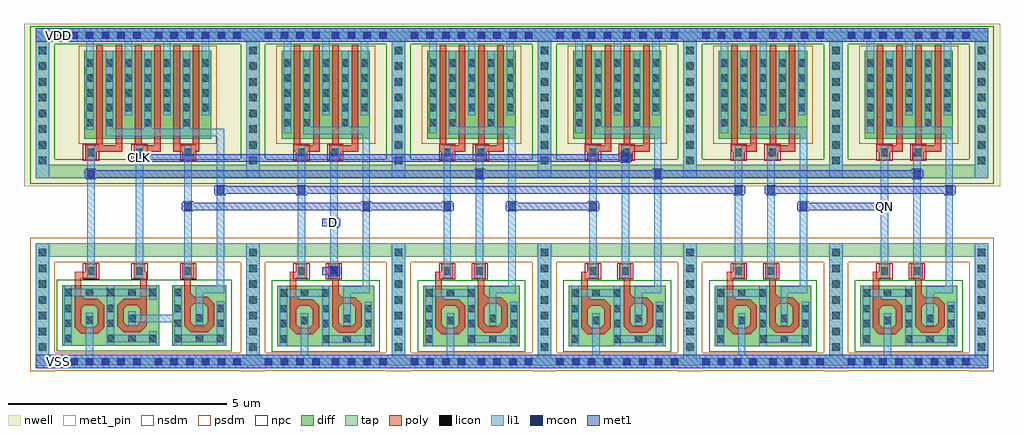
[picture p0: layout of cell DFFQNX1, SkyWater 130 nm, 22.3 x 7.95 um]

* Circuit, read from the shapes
.subckt DFFQNX1 CLK D QN VDD VSS
XM1 n1 n2 VSS VSS sky130_fd_pr__nfet_01v8 w=2.6 l=0.1462
XM2 n1 CLK n3 VSS sky130_fd_pr__nfet_01v8 w=2.52 l=0.1453
XM3 n3 n4 n5 VSS sky130_fd_pr__nfet_01v8 w=2.56 l=0.1459
XM4 n6 n5 VSS VSS sky130_fd_pr__nfet_01v8 w=2.6 l=0.1465
XM5 n6 D n4 VSS sky130_fd_pr__nfet_01v8 w=2.56 l=0.1461
XM6 n7 n4 VSS VSS sky130_fd_pr__nfet_01v8 w=2.6 l=0.1464
XM7 n7 n2 n8 VSS sky130_fd_pr__nfet_01v8 w=2.56 l=0.1463
XM8 n9 n8 VSS VSS sky130_fd_pr__nfet_01v8 w=2.6 l=0.1464
XM9 n9 CLK n2 VSS sky130_fd_pr__nfet_01v8 w=2.56 l=0.1461
XM10 n10 n5 VSS VSS sky130_fd_pr__nfet_01v8 w=2.6 l=0.1464
XM11 n10 n11 QN VSS sky130_fd_pr__nfet_01v8 w=2.56 l=0.1463
XM12 n12 QN VSS VSS sky130_fd_pr__nfet_01v8 w=2.6 l=0.1464
XM13 n12 n2 n11 VSS sky130_fd_pr__nfet_01v8 w=2.56 l=0.1461
XM14 n5 n2 VDD VDD sky130_fd_pr__pfet_01v8 w=2 l=0.15 m=2
XM15 n5 CLK VDD VDD sky130_fd_pr__pfet_01v8 w=2 l=0.15 m=2
XM16 n5 n4 VDD VDD sky130_fd_pr__pfet_01v8 w=2 l=0.15 m=2
XM17 n4 n5 VDD VDD sky130_fd_pr__pfet_01v8 w=2 l=0.15 m=2
XM18 n4 D VDD VDD sky130_fd_pr__pfet_01v8 w=2 l=0.15 m=2
XM19 n8 n4 VDD VDD sky130_fd_pr__pfet_01v8 w=2 l=0.15 m=2
XM20 n8 n2 VDD VDD sky130_fd_pr__pfet_01v8 w=2 l=0.15 m=2
XM21 n2 n8 VDD VDD sky130_fd_pr__pfet_01v8 w=2 l=0.15 m=2
XM22 n2 CLK VDD VDD sky130_fd_pr__pfet_01v8 w=2 l=0.15 m=2
XM23 QN n5 VDD VDD sky130_fd_pr__pfet_01v8 w=2 l=0.15 m=2
XM24 QN n11 VDD VDD sky130_fd_pr__pfet_01v8 w=2 l=0.15 m=2
XM25 n11 QN VDD VDD sky130_fd_pr__pfet_01v8 w=2 l=0.15 m=2
XM26 n11 n2 VDD VDD sky130_fd_pr__pfet_01v8 w=2 l=0.15 m=2
.ends

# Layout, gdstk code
import gdstk
lib = gdstk.Library(unit=1e-6, precision=1e-09)
def R(c, l, rs):  # rectangles x0, y0, x1, y1
    for r in rs: c.add(gdstk.rectangle(r[:2], r[2:], *l))
def A(c, l, x, y, w, h, nx, ny, dx, dy):  # array of equal rectangles
    R(c, l, [(x+i*dx, y+j*dy, x+i*dx+w, y+j*dy+h) for i in range(nx) for j in range(ny)])
def P(c, l, *ps):  # polygons
    for p in ps: c.add(gdstk.Polygon(p, *l))
nwell = (64, 20)
diff = (65, 20)
tap = (65, 44)
poly = (66, 20)
licon = (66, 44)
li1 = (67, 20)
mcon = (67, 44)
met1_pin = (68, 16)
met1 = (68, 20)
nsdm = (93, 44)
psdm = (94, 20)
npc = (95, 20)

dffqnx1 = lib.new_cell('DFFQNX1')
R(dffqnx1, nwell, [(-0.42,4.16,21.88,7.875)])
A(dffqnx1, diff, 5.37, 0.505, 2.21, 1.38, 5, 1, 3.33, 0)
A(dffqnx1, diff, 5.465, 5.25, 2.02, 2, 5, 1, 3.33, 0)
R(dffqnx1, diff, [(0.455,0.515,2.665,1.895), (2.965,0.515,4.205,1.895), (0.955,5.25,3.855,7.25)])
A(dffqnx1, tap, 4.655, 0.055, 0.31, 0.01, 6, 1, 3.33, 0)
A(dffqnx1, tap, 4.655, 0.235, 0.31, 2.315, 6, 1, 3.33, 0)
A(dffqnx1, tap, 4.655, 4.65, 0.31, 2.875, 6, 1, 3.33, 0)
R(dffqnx1, tap, [(-0.155,0.055,0.155,0.065), (-0.155,0.065,21.615,0.235), (-0.155,0.235,0.155,2.55), (-0.155,2.55,21.615,2.86), (-0.155,4.34,21.615,4.65), (-0.155,4.65,0.155,7.525), (-0.155,7.525,21.615,7.695)])
A(dffqnx1, poly, 9.13, 0.775, 0.38, 0.04, 4, 1, 3.33, 0)
A(dffqnx1, poly, 6.77, 0.815, 0.38, 0.15, 5, 1, 3.33, 0)
A(dffqnx1, poly, 9.09, 0.815, 0.42, 0.11, 4, 1, 3.33, 0)
A(dffqnx1, poly, 5.65, 1.43, 0.53, 0.15, 5, 1, 3.33, 0)
A(dffqnx1, poly, 6.62, 1.47, 0.53, 0.15, 5, 1, 3.33, 0)
A(dffqnx1, poly, 5.65, 1.58, 0.15, 0.475, 5, 1, 3.33, 0)
A(dffqnx1, poly, 6.62, 1.62, 0.15, 0.435, 5, 1, 3.33, 0)
A(dffqnx1, poly, 3.195, 2.055, 0.27, 0.33, 6, 1, 3.33, 0)
A(dffqnx1, poly, 5.65, 2.055, 0.405, 0.15, 5, 1, 3.33, 0)
A(dffqnx1, poly, 5.785, 2.205, 0.27, 0.18, 5, 1, 3.33, 0)
A(dffqnx1, poly, 0.975, 4.765, 0.27, 0.18, 3, 1, 1.11, 0)
A(dffqnx1, poly, 5.745, 4.945, 0.59, 0.15, 5, 1, 3.33, 0)
A(dffqnx1, poly, 6.555, 4.945, 0.66, 0.15, 5, 1, 3.33, 0)
A(dffqnx1, poly, 1.235, 5.095, 0.15, 2.285, 6, 1, 0.44, 0)
A(dffqnx1, poly, 5.745, 5.095, 0.15, 2.285, 4, 1, 0.44, 0)
A(dffqnx1, poly, 9.075, 5.095, 0.15, 2.285, 4, 1, 0.44, 0)
A(dffqnx1, poly, 12.405, 5.095, 0.15, 2.285, 4, 1, 0.44, 0)
A(dffqnx1, poly, 15.735, 5.095, 0.15, 2.285, 4, 1, 0.44, 0)
A(dffqnx1, poly, 19.065, 5.095, 0.15, 2.285, 4, 1, 0.44, 0)
R(dffqnx1, poly, [(5.8,0.775,6.18,0.785), (0.885,0.785,1.265,0.935), (5.79,0.785,6.18,0.82), (1.86,0.82,2.235,0.97), (5.755,0.82,6.18,0.825), (3.395,0.825,3.775,0.975), (5.75,0.825,6.18,0.925), (5.65,0.925,5.8,1.43), (6.18,0.925,6.33,1.43), (8.98,0.925,9.13,1.43), (9.51,0.925,9.66,1.43), (12.31,0.925,12.46,1.43), (12.84,0.925,12.99,1.43), (15.64,0.925,15.79,1.43), (16.17,0.925,16.32,1.43), (18.97,0.925,19.12,1.43), (19.5,0.925,19.65,1.43), (0.735,0.935,0.885,1.44), (1.265,0.935,1.415,1.44), (6.62,0.965,6.77,1.47), (7.15,0.965,7.3,1.47), (9.95,0.965,10.1,1.47), (10.48,0.965,10.63,1.47), (13.28,0.965,13.43,1.47), (13.81,0.965,13.96,1.47), (16.61,0.965,16.76,1.47), (17.14,0.965,17.29,1.47), (19.94,0.965,20.09,1.47), (20.47,0.965,20.62,1.47), (1.71,0.97,1.86,1.44), (2.235,0.97,2.385,1.44), (3.245,0.975,3.395,1.48), (3.775,0.975,3.925,1.48), (0.735,1.44,1.265,1.59), (1.86,1.44,2.385,1.59), (3.245,1.48,3.775,1.63), (0.735,1.59,0.885,2.055), (2.235,1.59,2.385,2.055), (3.245,1.63,3.395,2.055), (0.735,2.055,1.245,2.205), (2.085,2.055,2.385,2.205), (0.975,2.205,1.245,2.385), (2.085,2.205,2.355,2.385), (5.785,4.765,6.055,4.945), (6.555,4.765,6.825,4.945), (9.115,4.765,9.385,4.945), (9.885,4.765,10.155,4.945), (12.445,4.765,12.715,4.945), (13.215,4.765,13.485,4.945), (15.775,4.765,16.045,4.945), (16.545,4.765,16.815,4.945), (19.105,4.765,19.375,4.945), (19.875,4.765,20.145,4.945), (0.975,4.945,1.825,5.095), (2.085,4.945,2.705,5.095), (2.995,4.945,3.585,5.095)])
P(dffqnx1, poly, [(0.885,1.67),(0.885,1.59),(0.965,1.59)],
  [(1.265,1.59),(1.265,1.44),(1.415,1.44)],
  [(0.885,1.36),(0.885,1.44),(0.965,1.44)],
  [(1.185,1.44),(1.265,1.44),(1.265,1.36)],
  [(0.885,1.015),(0.885,0.935),(0.965,0.935)],
  [(1.185,0.935),(1.265,0.935),(1.265,1.015)],
  [(0.735,0.935),(0.885,0.935),(0.885,0.785)],
  [(1.265,0.785),(1.265,0.935),(1.415,0.935)],
  [(1.71,1.44),(1.86,1.44),(1.86,1.59)],
  [(1.86,1.36),(1.86,1.44),(1.94,1.44)],
  [(2.155,1.44),(2.235,1.44),(2.235,1.36)],
  [(1.86,1.05),(1.86,0.97),(1.94,0.97)],
  [(2.155,0.97),(2.235,0.97),(2.235,1.05)],
  [(1.71,0.97),(1.86,0.97),(1.86,0.82)],
  [(2.235,0.82),(2.235,0.97),(2.385,0.97)],
  [(3.395,1.71),(3.395,1.63),(3.475,1.63)],
  [(3.775,1.63),(3.775,1.48),(3.925,1.48)],
  [(3.395,1.4),(3.395,1.48),(3.475,1.48)],
  [(3.695,1.48),(3.775,1.48),(3.775,1.4)],
  [(3.395,1.055),(3.395,0.975),(3.475,0.975)],
  [(3.695,0.975),(3.775,0.975),(3.775,1.055)],
  [(3.245,0.975),(3.395,0.975),(3.395,0.825)],
  [(3.775,0.825),(3.775,0.975),(3.925,0.975)],
  [(5.8,1.66),(5.8,1.58),(5.88,1.58)],
  [(6.77,1.7),(6.77,1.62),(6.85,1.62)],
  [(6.18,1.58),(6.18,1.43),(6.33,1.43)],
  [(5.8,1.35),(5.8,1.43),(5.88,1.43)],
  [(6.1,1.43),(6.18,1.43),(6.18,1.35)],
  [(5.8,1.005),(5.8,0.925),(5.88,0.925)],
  [(6.1,0.925),(6.18,0.925),(6.18,1.005)],
  [(5.65,0.925),(5.75,0.925),(5.75,0.825)],
  [(5.75,0.825),(5.755,0.825),(5.755,0.82)],
  [(5.755,0.82),(5.79,0.82),(5.79,0.785)],
  [(5.79,0.785),(5.8,0.785),(5.8,0.775)],
  [(6.18,0.775),(6.18,0.925),(6.33,0.925)],
  [(7.15,1.62),(7.15,1.47),(7.3,1.47)],
  [(6.77,1.39),(6.77,1.47),(6.85,1.47)],
  [(7.07,1.47),(7.15,1.47),(7.15,1.39)],
  [(6.77,1.045),(6.77,0.965),(6.85,0.965)],
  [(7.07,0.965),(7.15,0.965),(7.15,1.045)],
  [(6.62,0.965),(6.77,0.965),(6.77,0.815)],
  [(7.15,0.815),(7.15,0.965),(7.3,0.965)],
  [(9.13,1.66),(9.13,1.58),(9.21,1.58)],
  [(10.1,1.7),(10.1,1.62),(10.18,1.62)],
  [(9.51,1.58),(9.51,1.43),(9.66,1.43)],
  [(9.13,1.35),(9.13,1.43),(9.21,1.43)],
  [(9.43,1.43),(9.51,1.43),(9.51,1.35)],
  [(9.13,1.005),(9.13,0.925),(9.21,0.925)],
  [(9.43,0.925),(9.51,0.925),(9.51,1.005)],
  [(8.98,0.925),(9.09,0.925),(9.09,0.815)],
  [(9.09,0.815),(9.13,0.815),(9.13,0.775)],
  [(9.51,0.775),(9.51,0.925),(9.66,0.925)],
  [(10.48,1.62),(10.48,1.47),(10.63,1.47)],
  [(10.1,1.39),(10.1,1.47),(10.18,1.47)],
  [(10.4,1.47),(10.48,1.47),(10.48,1.39)],
  [(10.1,1.045),(10.1,0.965),(10.18,0.965)],
  [(10.4,0.965),(10.48,0.965),(10.48,1.045)],
  [(9.95,0.965),(10.1,0.965),(10.1,0.815)],
  [(10.48,0.815),(10.48,0.965),(10.63,0.965)],
  [(12.46,1.66),(12.46,1.58),(12.54,1.58)],
  [(13.43,1.7),(13.43,1.62),(13.51,1.62)],
  [(12.84,1.58),(12.84,1.43),(12.99,1.43)],
  [(12.46,1.35),(12.46,1.43),(12.54,1.43)],
  [(12.76,1.43),(12.84,1.43),(12.84,1.35)],
  [(12.46,1.005),(12.46,0.925),(12.54,0.925)],
  [(12.76,0.925),(12.84,0.925),(12.84,1.005)],
  [(12.31,0.925),(12.42,0.925),(12.42,0.815)],
  [(12.42,0.815),(12.46,0.815),(12.46,0.775)],
  [(12.84,0.775),(12.84,0.925),(12.99,0.925)],
  [(13.81,1.62),(13.81,1.47),(13.96,1.47)],
  [(13.43,1.39),(13.43,1.47),(13.51,1.47)],
  [(13.73,1.47),(13.81,1.47),(13.81,1.39)],
  [(13.43,1.045),(13.43,0.965),(13.51,0.965)],
  [(13.73,0.965),(13.81,0.965),(13.81,1.045)],
  [(13.28,0.965),(13.43,0.965),(13.43,0.815)],
  [(13.81,0.815),(13.81,0.965),(13.96,0.965)],
  [(15.79,1.66),(15.79,1.58),(15.87,1.58)],
  [(16.76,1.7),(16.76,1.62),(16.84,1.62)],
  [(16.17,1.58),(16.17,1.43),(16.32,1.43)],
  [(15.79,1.35),(15.79,1.43),(15.87,1.43)],
  [(16.09,1.43),(16.17,1.43),(16.17,1.35)],
  [(15.79,1.005),(15.79,0.925),(15.87,0.925)],
  [(16.09,0.925),(16.17,0.925),(16.17,1.005)],
  [(15.64,0.925),(15.75,0.925),(15.75,0.815)],
  [(15.75,0.815),(15.79,0.815),(15.79,0.775)],
  [(16.17,0.775),(16.17,0.925),(16.32,0.925)],
  [(17.14,1.62),(17.14,1.47),(17.29,1.47)],
  [(16.76,1.39),(16.76,1.47),(16.84,1.47)],
  [(17.06,1.47),(17.14,1.47),(17.14,1.39)],
  [(16.76,1.045),(16.76,0.965),(16.84,0.965)],
  [(17.06,0.965),(17.14,0.965),(17.14,1.045)],
  [(16.61,0.965),(16.76,0.965),(16.76,0.815)],
  [(17.14,0.815),(17.14,0.965),(17.29,0.965)],
  [(19.12,1.66),(19.12,1.58),(19.2,1.58)],
  [(20.09,1.7),(20.09,1.62),(20.17,1.62)],
  [(19.5,1.58),(19.5,1.43),(19.65,1.43)],
  [(19.12,1.35),(19.12,1.43),(19.2,1.43)],
  [(19.42,1.43),(19.5,1.43),(19.5,1.35)],
  [(19.12,1.005),(19.12,0.925),(19.2,0.925)],
  [(19.42,0.925),(19.5,0.925),(19.5,1.005)],
  [(18.97,0.925),(19.08,0.925),(19.08,0.815)],
  [(19.08,0.815),(19.12,0.815),(19.12,0.775)],
  [(19.5,0.775),(19.5,0.925),(19.65,0.925)],
  [(20.47,1.62),(20.47,1.47),(20.62,1.47)],
  [(20.09,1.39),(20.09,1.47),(20.17,1.47)],
  [(20.39,1.47),(20.47,1.47),(20.47,1.39)],
  [(20.09,1.045),(20.09,0.965),(20.17,0.965)],
  [(20.39,0.965),(20.47,0.965),(20.47,1.045)],
  [(19.94,0.965),(20.09,0.965),(20.09,0.815)],
  [(20.47,0.815),(20.47,0.965),(20.62,0.965)])
A(dffqnx1, licon, 0.275, 0.065, 0.17, 0.17, 6, 2, 0.36, 7.46)
A(dffqnx1, licon, 2.565, 0.065, 0.17, 0.17, 6, 2, 0.36, 7.46)
A(dffqnx1, licon, 5.085, 0.065, 0.17, 0.17, 4, 2, 0.36, 7.46)
A(dffqnx1, licon, 6.615, 0.065, 0.17, 0.17, 4, 2, 0.36, 7.46)
A(dffqnx1, licon, 8.415, 0.065, 0.17, 0.17, 4, 2, 0.36, 7.46)
A(dffqnx1, licon, 9.945, 0.065, 0.17, 0.17, 4, 2, 0.36, 7.46)
A(dffqnx1, licon, 11.745, 0.065, 0.17, 0.17, 4, 2, 0.36, 7.46)
A(dffqnx1, licon, 13.275, 0.065, 0.17, 0.17, 4, 2, 0.36, 7.46)
A(dffqnx1, licon, 15.075, 0.065, 0.17, 0.17, 4, 2, 0.36, 7.46)
A(dffqnx1, licon, 16.605, 0.065, 0.17, 0.17, 4, 2, 0.36, 7.46)
A(dffqnx1, licon, 18.405, 0.065, 0.17, 0.17, 4, 2, 0.36, 7.46)
A(dffqnx1, licon, 19.935, 0.065, 0.17, 0.17, 4, 2, 0.36, 7.46)
A(dffqnx1, licon, -0.085, 0.4, 0.17, 0.17, 1, 7, 0, 0.36)
A(dffqnx1, licon, 4.725, 0.4, 0.17, 0.17, 6, 7, 3.33, 0.36)
A(dffqnx1, licon, 6.39, 0.585, 0.17, 0.17, 3, 1, 0.485, 0)
A(dffqnx1, licon, 9.72, 0.585, 0.17, 0.17, 3, 1, 0.485, 0)
A(dffqnx1, licon, 13.05, 0.585, 0.17, 0.17, 3, 1, 0.485, 0)
A(dffqnx1, licon, 16.38, 0.585, 0.17, 0.17, 3, 1, 0.485, 0)
A(dffqnx1, licon, 19.71, 0.585, 0.17, 0.17, 3, 1, 0.485, 0)
A(dffqnx1, licon, 1.475, 0.595, 0.17, 0.17, 3, 1, 0.485, 0)
A(dffqnx1, licon, 3.015, 0.595, 0.17, 0.17, 3, 1, 0.485, 0)
A(dffqnx1, licon, 5.42, 0.935, 0.17, 0.17, 3, 2, 0.97, 0.34)
A(dffqnx1, licon, 8.75, 0.935, 0.17, 0.17, 3, 2, 0.97, 0.34)
A(dffqnx1, licon, 12.08, 0.935, 0.17, 0.17, 3, 2, 0.97, 0.34)
A(dffqnx1, licon, 15.41, 0.935, 0.17, 0.17, 3, 2, 0.97, 0.34)
A(dffqnx1, licon, 18.74, 0.935, 0.17, 0.17, 3, 2, 0.97, 0.34)
A(dffqnx1, licon, 5.905, 1.01, 0.17, 0.17, 5, 1, 3.33, 0)
A(dffqnx1, licon, 6.875, 1.055, 0.17, 0.17, 5, 1, 3.33, 0)
A(dffqnx1, licon, 5.42, 1.635, 0.17, 0.17, 3, 1, 0.485, 0)
A(dffqnx1, licon, 8.75, 1.635, 0.17, 0.17, 3, 1, 0.485, 0)
A(dffqnx1, licon, 12.08, 1.635, 0.17, 0.17, 3, 1, 0.485, 0)
A(dffqnx1, licon, 15.41, 1.635, 0.17, 0.17, 3, 1, 0.485, 0)
A(dffqnx1, licon, 18.74, 1.635, 0.17, 0.17, 3, 1, 0.485, 0)
A(dffqnx1, licon, 0.505, 1.645, 0.17, 0.17, 5, 1, 0.485, 0)
A(dffqnx1, licon, 1.025, 2.135, 0.17, 0.17, 3, 2, 1.11, 2.71)
A(dffqnx1, licon, -0.085, 4.66, 0.17, 0.17, 1, 8, 0, 0.36)
A(dffqnx1, licon, 4.725, 4.66, 0.17, 0.17, 6, 8, 3.33, 0.36)
A(dffqnx1, licon, 1.445, 5.525, 0.17, 0.17, 3, 1, 0.88, 0)
A(dffqnx1, licon, 1.005, 5.87, 0.17, 0.17, 7, 4, 0.44, 0.34)
A(dffqnx1, licon, 5.515, 5.87, 0.17, 0.17, 5, 4, 0.44, 0.34)
A(dffqnx1, licon, 8.845, 5.87, 0.17, 0.17, 5, 4, 0.44, 0.34)
A(dffqnx1, licon, 12.175, 5.87, 0.17, 0.17, 5, 4, 0.44, 0.34)
A(dffqnx1, licon, 15.505, 5.87, 0.17, 0.17, 5, 4, 0.44, 0.34)
A(dffqnx1, licon, 18.835, 5.87, 0.17, 0.17, 5, 4, 0.44, 0.34)
R(dffqnx1, licon, [(5.42,0.585,5.59,0.755), (8.75,0.585,8.92,0.755), (12.08,0.585,12.25,0.755), (15.41,0.585,15.58,0.755), (18.74,0.585,18.91,0.755), (0.505,0.595,0.675,0.765), (0.505,0.945,0.675,1.115), (1.475,0.945,1.645,1.115), (3.015,0.945,3.185,1.115), (3.985,0.945,4.155,1.115), (0.99,1.02,1.16,1.19), (1.965,1.05,2.135,1.22), (3.5,1.065,3.67,1.235), (0.505,1.285,0.675,1.455), (1.475,1.285,1.645,1.455), (3.015,1.285,3.185,1.455), (3.985,1.285,4.155,1.455), (3.015,1.645,3.185,1.815), (5.835,2.135,6.005,2.305), (6.575,2.135,6.745,2.305), (9.165,2.135,9.335,2.305), (9.905,2.135,10.075,2.305), (12.495,2.135,12.665,2.305), (13.235,2.135,13.405,2.305), (15.825,2.135,15.995,2.305), (16.565,2.135,16.735,2.305), (19.155,2.135,19.325,2.305), (19.895,2.135,20.065,2.305), (5.835,4.845,6.005,5.015), (6.605,4.845,6.775,5.015), (9.165,4.845,9.335,5.015), (9.935,4.845,10.105,5.015), (12.495,4.845,12.665,5.015), (13.265,4.845,13.435,5.015), (15.825,4.845,15.995,5.015), (16.595,4.845,16.765,5.015), (19.155,4.845,19.325,5.015), (19.925,4.845,20.095,5.015), (1.005,5.525,1.175,5.695), (5.515,5.525,5.685,5.695), (5.955,5.525,6.125,5.695), (6.835,5.525,7.005,5.695), (8.845,5.525,9.015,5.695), (9.285,5.525,9.455,5.695), (10.165,5.525,10.335,5.695), (12.175,5.525,12.345,5.695), (12.615,5.525,12.785,5.695), (13.495,5.525,13.665,5.695), (15.505,5.525,15.675,5.695), (15.945,5.525,16.115,5.695), (16.825,5.525,16.995,5.695), (18.835,5.525,19.005,5.695), (19.275,5.525,19.445,5.695), (20.155,5.525,20.325,5.695)])
A(dffqnx1, li1, 4.655, 0.31, 0.31, 2.55, 6, 1, 3.33, 0)
A(dffqnx1, li1, 5.905, 0.31, 0.17, 0.95, 5, 1, 3.33, 0)
A(dffqnx1, li1, 5.42, 0.505, 0.17, 1.13, 5, 1, 3.33, 0)
A(dffqnx1, li1, 6.39, 0.585, 1.14, 0.17, 5, 1, 3.33, 0)
A(dffqnx1, li1, 6.39, 0.755, 0.17, 0.88, 5, 1, 3.33, 0)
A(dffqnx1, li1, 7.36, 0.755, 0.17, 0.77, 5, 1, 3.33, 0)
A(dffqnx1, li1, 6.875, 0.975, 0.17, 0.735, 5, 1, 3.33, 0)
A(dffqnx1, li1, 5.42, 1.635, 1.14, 0.17, 5, 1, 3.33, 0)
A(dffqnx1, li1, 6.875, 1.71, 0.61, 0.17, 5, 1, 3.33, 0)
A(dffqnx1, li1, 0.505, 1.815, 0.17, 0.08, 3, 1, 0.97, 0)
A(dffqnx1, li1, 7.315, 1.88, 0.17, 3.465, 5, 1, 3.33, 0)
A(dffqnx1, li1, 1.025, 2.055, 0.17, 3.04, 3, 1, 1.11, 0)
A(dffqnx1, li1, 5.835, 2.055, 0.17, 3.04, 5, 1, 3.33, 0)
A(dffqnx1, li1, 6.575, 2.055, 0.17, 2.71, 5, 1, 3.33, 0)
A(dffqnx1, li1, 4.655, 4.34, 0.31, 3.12, 6, 1, 3.33, 0)
A(dffqnx1, li1, 5.955, 5.345, 1.53, 0.17, 5, 1, 3.33, 0)
A(dffqnx1, li1, 5.515, 5.365, 0.17, 2.095, 5, 1, 3.33, 0)
A(dffqnx1, li1, 1.445, 5.47, 0.17, 1.78, 3, 1, 0.88, 0)
A(dffqnx1, li1, 1.885, 5.785, 0.17, 1.675, 3, 1, 0.88, 0)
R(dffqnx1, li1, [(-0.155,0,21.615,0.31), (-0.155,0.31,0.155,2.86), (0.99,0.31,1.16,1.27), (6.39,0.505,6.56,0.585), (7.36,0.505,7.53,0.585), (9.72,0.505,9.89,0.585), (10.69,0.505,10.86,0.585), (13.05,0.505,13.22,0.585), (14.02,0.505,14.19,0.585), (16.38,0.505,16.55,0.585), (17.35,0.505,17.52,0.585), (19.71,0.505,19.88,0.585), (20.68,0.505,20.85,0.585), (0.505,0.515,0.675,1.645), (1.475,0.515,1.645,0.595), (2.445,0.515,2.615,0.595), (3.015,0.515,3.185,0.595), (3.985,0.515,4.155,0.595), (1.475,0.595,2.615,0.765), (3.015,0.595,4.155,0.765), (1.475,0.765,1.645,1.645), (2.445,0.765,2.615,0.845), (3.015,0.765,3.185,1.05), (3.985,0.765,4.155,1.535), (1.965,0.97,2.135,1.05), (3.5,0.985,3.67,1.72), (1.965,1.05,3.185,1.22), (1.965,1.22,2.135,1.3), (3.015,1.22,3.185,1.895), (2.445,1.565,2.615,1.645), (0.505,1.645,2.615,1.815), (3.5,1.72,4.155,1.89), (5.42,1.805,5.59,1.885), (6.39,1.805,6.56,1.885), (8.75,1.805,8.92,1.885), (9.72,1.805,9.89,1.885), (12.08,1.805,12.25,1.885), (13.05,1.805,13.22,1.885), (15.41,1.805,15.58,1.885), (16.38,1.805,16.55,1.885), (18.74,1.805,18.91,1.885), (19.71,1.805,19.88,1.885), (3.985,1.89,4.155,5.3), (-0.155,4.34,0.155,7.46), (6.575,4.765,6.775,4.94), (9.905,4.765,10.105,4.94), (13.235,4.765,13.435,4.975), (16.565,4.765,16.765,4.94), (19.895,4.765,20.095,4.94), (6.605,4.94,6.775,5.095), (9.935,4.94,10.105,5.095), (16.595,4.94,16.765,5.095), (19.925,4.94,20.095,5.095), (13.265,4.975,13.435,5.095), (1.445,5.3,4.155,5.47), (1.005,5.445,1.175,7.46), (5.955,5.515,6.125,7.25), (6.835,5.515,7.005,7.25), (9.285,5.515,9.455,7.25), (10.165,5.515,10.335,7.25), (12.615,5.515,12.785,7.25), (13.495,5.515,13.665,7.25), (15.945,5.515,16.115,7.25), (16.825,5.515,16.995,7.25), (19.275,5.515,19.445,7.25), (20.155,5.515,20.325,7.25), (6.395,5.785,6.565,7.46), (7.275,5.785,7.445,7.46), (9.725,5.785,9.895,7.46), (10.605,5.785,10.775,7.46), (13.055,5.785,13.225,7.46), (13.935,5.785,14.105,7.46), (16.385,5.785,16.555,7.46), (17.265,5.785,17.435,7.46), (19.715,5.785,19.885,7.46), (20.595,5.785,20.765,7.46), (-0.155,7.46,21.615,7.77)])
A(dffqnx1, mcon, 0.275, 0.065, 0.17, 0.17, 6, 2, 0.36, 7.46)
A(dffqnx1, mcon, 2.565, 0.065, 0.17, 0.17, 6, 2, 0.36, 7.46)
A(dffqnx1, mcon, 5.085, 0.065, 0.17, 0.17, 4, 2, 0.36, 7.46)
A(dffqnx1, mcon, 6.615, 0.065, 0.17, 0.17, 4, 2, 0.36, 7.46)
A(dffqnx1, mcon, 8.415, 0.065, 0.17, 0.17, 4, 2, 0.36, 7.46)
A(dffqnx1, mcon, 9.945, 0.065, 0.17, 0.17, 4, 2, 0.36, 7.46)
A(dffqnx1, mcon, 11.745, 0.065, 0.17, 0.17, 4, 2, 0.36, 7.46)
A(dffqnx1, mcon, 13.275, 0.065, 0.17, 0.17, 4, 2, 0.36, 7.46)
A(dffqnx1, mcon, 15.075, 0.065, 0.17, 0.17, 4, 2, 0.36, 7.46)
A(dffqnx1, mcon, 16.605, 0.065, 0.17, 0.17, 4, 2, 0.36, 7.46)
A(dffqnx1, mcon, 18.405, 0.065, 0.17, 0.17, 4, 2, 0.36, 7.46)
A(dffqnx1, mcon, 19.935, 0.065, 0.17, 0.17, 4, 2, 0.36, 7.46)
R(dffqnx1, mcon, [(6.575,2.135,6.745,2.305), (6.575,3.245,6.745,3.415), (3.245,3.615,3.415,3.785), (7.315,3.615,7.485,3.785), (9.165,3.615,9.335,3.785), (10.645,3.615,10.815,3.785), (12.495,3.615,12.665,3.785), (17.305,3.615,17.475,3.785), (19.155,3.615,19.325,3.785), (3.985,3.985,4.155,4.155), (5.835,3.985,6.005,4.155), (15.825,3.985,15.995,4.155), (16.565,3.985,16.735,4.155), (20.635,3.985,20.805,4.155), (1.025,4.355,1.195,4.525), (9.905,4.355,10.075,4.525), (13.975,4.355,14.145,4.525), (19.895,4.355,20.065,4.525), (2.135,4.725,2.305,4.895), (13.235,4.725,13.405,4.895)])
R(dffqnx1, met1_pin, [(0.275,0.065,0.445,0.235), (6.575,3.245,6.745,3.415), (19.155,3.615,19.325,3.785), (2.135,4.725,2.305,4.895), (0.275,7.525,0.445,7.695)])
R(dffqnx1, met1, [(-0.155,0,21.615,0.31), (6.545,2.105,6.775,2.135), (6.395,2.135,6.805,2.305), (6.545,2.305,6.775,2.335), (6.545,3.215,6.775,3.245), (6.395,3.245,6.805,3.415), (6.545,3.415,6.775,3.445), (3.215,3.585,3.445,3.615), (7.285,3.585,7.515,3.615), (9.135,3.585,9.365,3.615), (10.615,3.585,10.845,3.615), (12.465,3.585,12.695,3.615), (17.275,3.585,17.505,3.615), (19.125,3.585,19.355,3.615), (3.185,3.615,9.395,3.785), (10.585,3.615,12.725,3.785), (17.245,3.615,19.385,3.785), (3.215,3.785,3.445,3.815), (7.285,3.785,7.515,3.815), (9.135,3.785,9.365,3.815), (10.615,3.785,10.845,3.815), (12.465,3.785,12.695,3.815), (17.275,3.785,17.505,3.815), (19.125,3.785,19.355,3.815), (3.955,3.955,4.185,3.985), (5.805,3.955,6.035,3.985), (15.795,3.955,16.025,3.985), (16.535,3.955,16.765,3.985), (20.605,3.955,20.835,3.985), (3.925,3.985,16.055,4.155), (16.505,3.985,20.865,4.155), (3.955,4.155,4.185,4.185), (5.805,4.155,6.035,4.185), (15.795,4.155,16.025,4.185), (16.535,4.155,16.765,4.185), (20.605,4.155,20.835,4.185), (0.995,4.325,1.225,4.355), (9.875,4.325,10.105,4.355), (13.945,4.325,14.175,4.355), (19.865,4.325,20.095,4.355), (0.965,4.355,20.125,4.525), (0.995,4.525,1.225,4.555), (9.875,4.525,10.105,4.555), (13.945,4.525,14.175,4.555), (19.865,4.525,20.095,4.555), (2.105,4.695,2.335,4.725), (13.205,4.695,13.435,4.725), (2.075,4.725,13.465,4.895), (2.105,4.895,2.335,4.925), (13.205,4.895,13.435,4.925), (-0.155,7.46,21.615,7.77)])
A(dffqnx1, nsdm, 5.245, 0.38, 2.46, 1.63, 5, 1, 3.33, 0)
A(dffqnx1, nsdm, 4.53, 4.775, 0.56, 2.625, 6, 1, 3.33, 0)
R(dffqnx1, nsdm, [(0.33,0.39,4.33,2.02), (-0.28,4.215,21.74,4.775), (-0.28,4.775,0.28,7.4), (-0.28,7.4,21.74,7.82)])
A(dffqnx1, psdm, 4.53, -0.07, 0.56, 0.01, 6, 1, 3.33, 0)
A(dffqnx1, psdm, 4.53, 0.36, 0.56, 2.065, 6, 1, 3.33, 0)
A(dffqnx1, psdm, 5.34, 5.125, 2.27, 2.25, 5, 1, 3.33, 0)
R(dffqnx1, psdm, [(-0.28,-0.07,0.28,-0.06), (-0.28,-0.06,21.74,0.36), (-0.28,0.36,0.28,2.425), (-0.28,2.425,21.74,2.985), (0.83,5.125,3.98,7.375)])
A(dffqnx1, npc, 0.925, 2.035, 0.37, 0.37, 3, 2, 1.11, 2.71)
R(dffqnx1, npc, [(5.735,2.035,6.105,2.405), (6.475,2.035,6.845,2.405), (9.065,2.035,9.435,2.405), (9.805,2.035,10.175,2.405), (12.395,2.035,12.765,2.405), (13.135,2.035,13.505,2.405), (15.725,2.035,16.095,2.405), (16.465,2.035,16.835,2.405), (19.055,2.035,19.425,2.405), (19.795,2.035,20.165,2.405), (5.735,4.745,6.105,5.115), (6.505,4.745,6.875,5.115), (9.065,4.745,9.435,5.115), (9.835,4.745,10.205,5.115), (12.395,4.745,12.765,5.115), (13.165,4.745,13.535,5.115), (15.725,4.745,16.095,5.115), (16.495,4.745,16.865,5.115), (19.055,4.745,19.425,5.115), (19.825,4.745,20.195,5.115)])
dffqnx1.add(gdstk.Label('QN', (19.24,3.7), layer=68, texttype=16))
dffqnx1.add(gdstk.Label('D', (6.66,3.33), layer=68, texttype=16))
dffqnx1.add(gdstk.Label('CLK', (2.22,4.81), layer=68, texttype=16))
dffqnx1.add(gdstk.Label('VDD', (0.36,7.61), layer=68, texttype=16))
dffqnx1.add(gdstk.Label('VSS', (0.36,0.15), layer=68, texttype=16))

lib.write_gds('DFFQNX1.gds')
